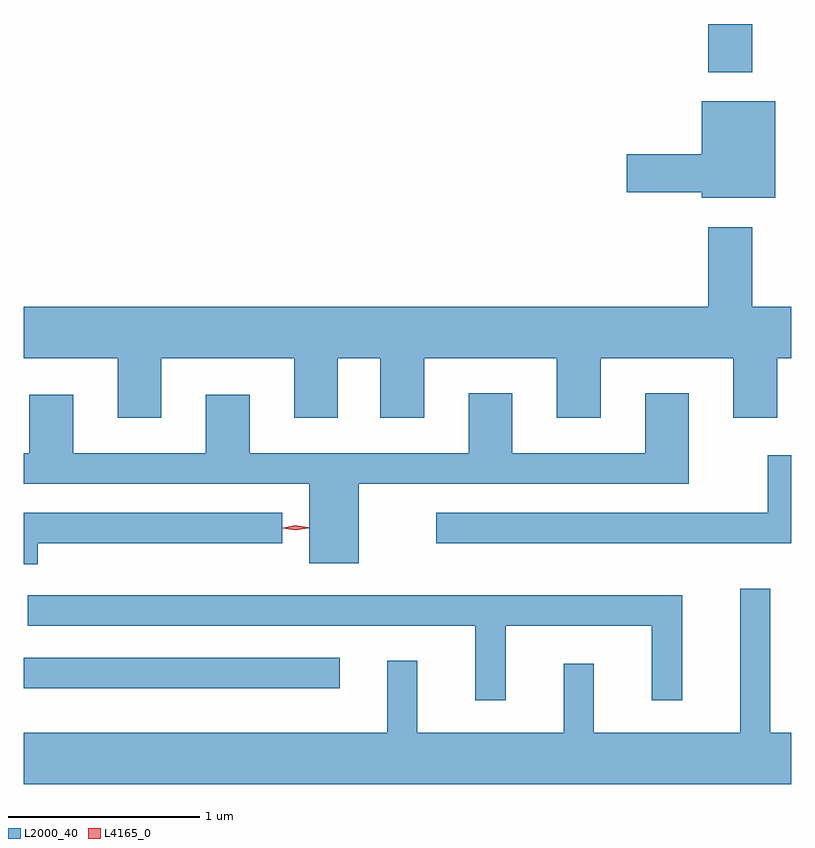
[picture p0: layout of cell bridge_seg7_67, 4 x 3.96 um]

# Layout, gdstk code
import gdstk
lib = gdstk.Library(unit=1e-6, precision=1e-09)
def R(c, l, rs):  # rectangles x0, y0, x1, y1
    for r in rs: c.add(gdstk.rectangle(r[:2], r[2:], *l))
def P(c, l, *ps):  # polygons
    for p in ps: c.add(gdstk.Polygon(p, *l))
L2000_40 = (2000, 40)
L4165_0 = (4165, 0)

bridge_seg7_67 = lib.new_cell('bridge_seg7_67')
R(bridge_seg7_67, L2000_40, [(1618.492,1790.296,1620.138,1790.454), (1622.061,1793.506,1622.289,1793.758)])
P(bridge_seg7_67, L2000_40, [(1622.409,1793.354),(1622.026,1793.354),(1622.026,1793.079),(1621.636,1793.079),(1621.636,1792.881),(1622.026,1792.881),(1622.026,1792.851),(1622.409,1792.851)],
  [(1619.209,1792.016),(1619.901,1792.016),(1619.901,1791.706),(1620.129,1791.706),(1620.129,1792.016),(1620.351,1792.016),(1620.351,1791.706),(1620.579,1791.706),(1620.579,1792.016),(1621.271,1792.016),(1621.271,1791.706),(1621.499,1791.706),(1621.499,1792.016),(1622.191,1792.016),(1622.191,1791.706),(1622.419,1791.706),(1622.419,1792.016),(1622.492,1792.016),(1622.492,1792.284),(1622.289,1792.284),(1622.289,1792.699),(1622.061,1792.699),(1622.061,1792.284),(1618.492,1792.284),(1618.492,1792.016),(1618.981,1792.016),(1618.981,1791.706),(1619.209,1791.706)],
  [(1620.239,1791.361),(1621.959,1791.361),(1621.959,1791.834),(1621.731,1791.834),(1621.731,1791.519),(1621.039,1791.519),(1621.039,1791.834),(1620.811,1791.834),(1620.811,1791.519),(1619.669,1791.519),(1619.669,1791.824),(1619.441,1791.824),(1619.441,1791.519),(1618.749,1791.519),(1618.749,1791.824),(1618.521,1791.824),(1618.521,1791.519),(1618.492,1791.519),(1618.492,1791.361),(1619.981,1791.361),(1619.981,1790.946),(1620.239,1790.946)],
  [(1622.492,1791.509),(1622.371,1791.509),(1622.371,1791.209),(1620.643,1791.209),(1620.643,1791.051),(1622.492,1791.051)],
  [(1618.564,1791.051),(1619.838,1791.051),(1619.838,1791.209),(1618.492,1791.209),(1618.492,1790.941),(1618.564,1790.941)],
  [(1622.492,1790.064),(1622.384,1790.064),(1622.384,1790.813),(1622.226,1790.813),(1622.226,1790.064),(1621.464,1790.064),(1621.464,1790.423),(1621.306,1790.423),(1621.306,1790.064),(1620.544,1790.064),(1620.544,1790.438),(1620.386,1790.438),(1620.386,1790.064),(1618.492,1790.064),(1618.492,1789.796),(1622.492,1789.796)],
  [(1621.004,1790.621),(1621.766,1790.621),(1621.766,1790.233),(1621.924,1790.233),(1621.924,1790.779),(1618.513,1790.779),(1618.513,1790.621),(1620.846,1790.621),(1620.846,1790.233),(1621.004,1790.233)])
P(bridge_seg7_67, L4165_0, [(1619.908,1791.12),(1619.839,1791.13),(1619.839,1791.13),(1619.839,1791.131),(1619.908,1791.14),(1619.976,1791.131),(1619.977,1791.131),(1619.976,1791.13)],
  [(1619.908,1791.124),(1619.843,1791.132),(1619.842,1791.133),(1619.843,1791.133),(1619.908,1791.144),(1619.974,1791.135),(1619.974,1791.135),(1619.974,1791.134)])

lib.write_gds('bridge_seg7_67.gds')
